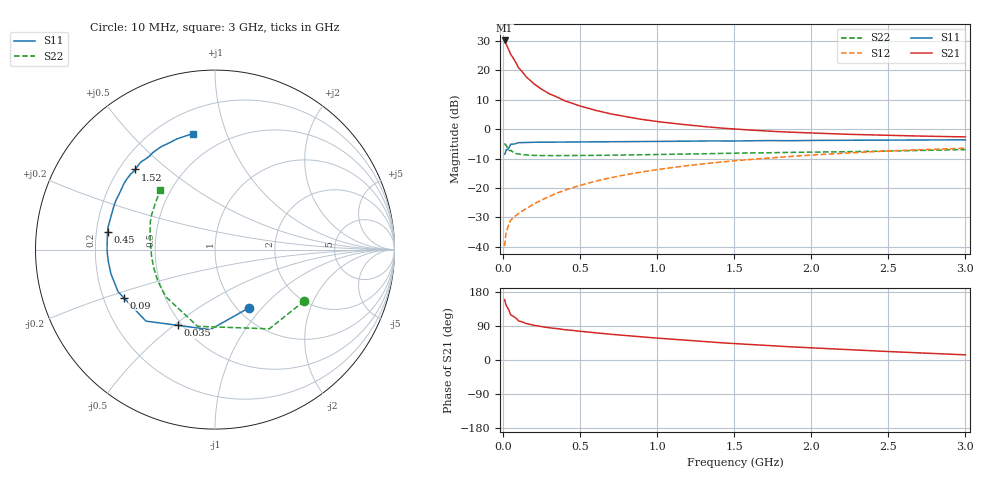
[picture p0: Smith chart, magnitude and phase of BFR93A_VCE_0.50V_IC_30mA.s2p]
! Infineon Technologies  Discrete & RF Semiconductors
! BFR93A
! VCE = 0.50 V,  IC =  30 mA
! Common Emitter S-Parameters:  Nov 2015
# GHz  S  MA  R  50
!  f  S11  S21  S12  S22
! GHz  MAG  ANG  MAG  ANG  MAG  ANG  MAG  ANG
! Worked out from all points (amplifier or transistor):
!   180 points, 10 MHz to 3 GHz, reference 50 ohm
!   highest |S21| = 30.1 dB at 10 MHz (marker M1)
!   |S21| within 3 dB of that: start of sweep to 35.09 MHz
!   unconditionally stable (mu >= 1): 137.3 MHz to end of sweep
!   at 160 MHz: K = 1.07, MAG = 20.4 dB, |S12| = -26.7 dB
!   at 1.22 GHz: K = 1.28, MAG = 3.6 dB, |S12| = -12.3 dB
!   at 3 GHz: K = 1.11, MAG = -0.1 dB, |S12| = -6.5 dB
!   S11 on the Smith chart (normalised r, x): 10 MHz: 1.13, -0.85; 35 MHz: 0.48, -0.52; 90 MHz: 0.28, -0.23; 450 MHz: 0.25, +0.08; 1.52 GHz: 0.26, +0.39; 3 GHz: 0.34, +0.77
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0.01  0.3756 -59.5  31.96 159.3  0.0103 70.4  0.5741 -29.9
0.02  0.4467 -93.4  27.87 143.9  0.0178 60.9  0.5351 -55.6
0.035  0.4696 -116.0  22.65 133.9  0.0231 53.3  0.4464 -76.7
0.05  0.554 -134.0  18.5 118.8  0.0286 48.5  0.4383 -102.8
0.09  0.5751 -152.3  12.44 107.9  0.0352 48.8  0.3799 -128.9
0.1  0.5889 -156.5  11.04 103.3  0.0369 48.9  0.3796 -136.2
0.15  0.5952 -166.9  7.685 96.1  0.0448 53.4  0.364 -150.9
0.2  0.5977 -173.0  5.863 91.5  0.0535 57.4  0.3575 -159.4
0.24  0.5995 -176.7  4.96 88.8  0.0608 59.5  0.3558 -163.8
0.26  0.6004 -178.2  4.584 87.5  0.0645 60.4  0.3553 -165.7
0.3  0.6015 179.3  3.982 85.0  0.072 62.0  0.3546 -168.9
0.4  0.6043 173.3  3.022 80.0  0.0916 63.8  0.3554 -174.6
0.45  0.6061 170.8  2.74 78.1  0.1012 64.0  0.3553 -176.7
0.52  0.6086 167.5  2.385 75.0  0.1147 64.1  0.356 -179.4
0.6  0.6081 164.1  2.083 71.7  0.1303 63.9  0.3579 177.8
0.7  0.6094 160.6  1.809 67.8  0.1496 63.1  0.3602 174.9
0.9  0.6162 153.6  1.459 61.1  0.187 60.7  0.3678 169.8
1.02  0.6177 149.3  1.325 57.2  0.2089 58.9  0.3709 167.1
1.52  0.6291 134.8  0.994 42.9  0.2926 50.8  0.3908 157.3
2.02  0.6428 121.9  0.854 31.7  0.365 42.4  0.4069 148.9
2.52  0.6496 110.7  0.782 22.0  0.4272 33.8  0.425 140.6
3  0.6577 100.5  0.738 13.6  0.4743 25.7  0.449 132.7
